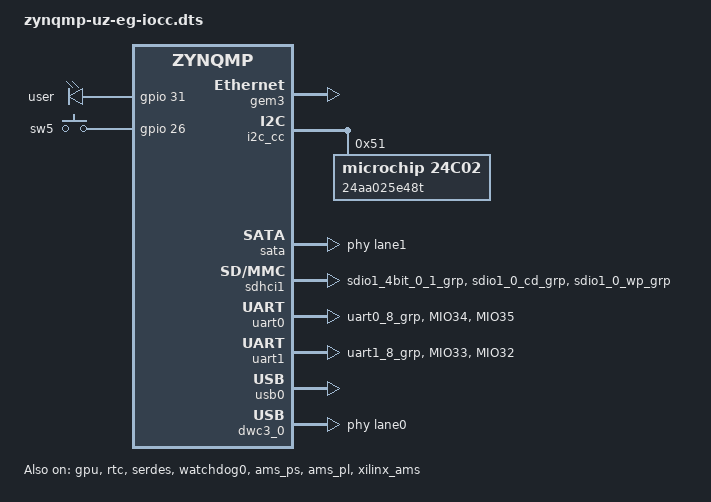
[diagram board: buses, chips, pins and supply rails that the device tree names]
/*
 * DTS file for ZynqMP UltraZed-EG Carrier Board
 *
 * Copyright 2019 (C), Istituto Italiano di Tecnologia
 * Electronic Design Laboratory
 *
 * Written by Andrea Merello <andrea.merello@gmail.com>
 *
 * Based on
 *   dts file for Xilinx ZynqMP ZCU102 RevA
 *   (C) Copyright 2015, Xilinx, Inc.
 *   Michal Simek <michal.simek@xilinx.com>
 *
 * This program is free software; you can redistribute it and/or
 * modify it under the terms of the GNU General Public License as
 * published by the Free Software Foundation; either version 2 of
 * the License, or (at your option) any later version.
 */

/dts-v1/;
#include "zynqmp-uz-eg-som.dtsi"

/ {
	aliases {
		spi0 = &qspi;
		serial0 = &uart0;
		serial1 = &uart1;
	};

	chosen {
		bootargs = "earlycon clk_ignore_unused";
		stdout-path = "serial0:115200n8";
	};

	leds {
		compatible = "gpio-leds";
		user_ps {
			label = "user";
			gpios = <&gpio 31 GPIO_ACTIVE_HIGH>;
			linux,default-trigger = "heartbeat";
		};
	};

	gpio-keys {
		compatible = "gpio-keys";
		#address-cells = <1>;
		#size-cells = <0>;

		sw5 {
			label = "sw5";
			gpios = <&gpio 26 GPIO_ACTIVE_HIGH>;
			gpio-key,wakeup;
			linux,code = <240>; /* key unknown */
			autorepeat;
		};
	};
};

/* TODO dpaux generator? */

&gem3 {
	status = "okay";
};

&i2c_cc {
	24aa025e48t@a2 {
		compatible = "microchip,24c02";
		reg = <0x51>;
	};
};

&gpio {
	status = "okay";
};

&gpu {
	status = "okay";
};

&pinctrl0 {
	status = "okay";
		pinctrl_sdhci1_default: sdhci1-default {
		mux {
			groups = "sdio1_4bit_0_1_grp";
			function = "sdio1";
		};

		conf {
			groups = "sdio1_4bit_0_1_grp";
			slew-rate = <SLEW_RATE_SLOW>;
			io-standard = <IO_STANDARD_LVCMOS33>;
			bias-disable;
		};

		mux-cd {
			groups = "sdio1_0_cd_grp";
			function = "sdio1_cd";
		};

		conf-cd {
			groups = "sdio1_0_cd_grp";
			bias-high-impedance;
			bias-pull-up;
			slew-rate = <SLEW_RATE_SLOW>;
			io-standard = <IO_STANDARD_LVCMOS33>;
		};

		mux-wp {
			groups = "sdio1_0_wp_grp";
			function = "sdio1_wp";
		};

		conf-wp {
			groups = "sdio1_0_wp_grp";
			bias-high-impedance;
			bias-pull-up;
			slew-rate = <SLEW_RATE_SLOW>;
			io-standard = <IO_STANDARD_LVCMOS33>;
		};
	};

	pinctrl_uart0_default: uart0-default {
		mux {
			groups = "uart0_8_grp";
			function = "uart0";
		};

		conf {
			groups = "uart0_8_grp";
			slew-rate = <SLEW_RATE_SLOW>;
			io-standard = <IO_STANDARD_LVCMOS33>;
		};

		conf-rx {
			pins = "MIO34";
			bias-high-impedance;
		};

		conf-tx {
			pins = "MIO35";
			bias-disable;
		};
	};

	pinctrl_uart1_default: uart1-default {
		mux {
			groups = "uart1_8_grp";
			function = "uart1";
		};

		conf {
			groups = "uart1_8_grp";
			slew-rate = <SLEW_RATE_SLOW>;
			io-standard = <IO_STANDARD_LVCMOS33>;
		};

		conf-rx {
			pins = "MIO33";
			bias-high-impedance;
		};

		conf-tx {
			pins = "MIO32";
			bias-disable;
		};
	};
};

&rtc {
	status = "okay";
};

&sata {
	ceva,p0-burst-params = /bits/ 8 <0x13 0x08 0x4A 0x06>;
	ceva,p0-cominit-params = /bits/ 8 <0x18 0x40 0x18 0x28>;
	ceva,p0-comwake-params = /bits/ 8 <0x06 0x14 0x08 0x0E>;
	ceva,p0-retry-params = /bits/ 16 <0x96A4 0x3FFC>;

	ceva,p1-burst-params = /bits/ 8 <0x13 0x08 0x4A 0x06>;
	ceva,p1-cominit-params = /bits/ 8 <0x18 0x40 0x18 0x28>;
	ceva,p1-comwake-params = /bits/ 8 <0x06 0x14 0x08 0x0E>;
	ceva,p1-retry-params = /bits/ 16 <0x96A4 0x3FFC>;

	status = "okay";
	phy-names = "sata-phy";
	phys = <&lane1 PHY_TYPE_SATA 1 1 125000000>;
};

&sdhci1 {
	pinctrl-names = "default";
	pinctrl-0 = <&pinctrl_sdhci1_default>;
	clock-frequency = <199998000>;
	max-frequency = <50000000>;
	no-1-8-v;
	status = "okay";
	xlnx,mio_bank = <0x1>;
};

&serdes {
	status = "okay";
};

&uart0 {
	pinctrl-names = "default";
	pinctrl-0 = <&pinctrl_uart0_default>;
	device_type = "serial";
	port-number = <0>;
	status = "okay";
	u-boot,dm-pre-reloc ;
};

&uart1 {
	pinctrl-names = "default";
	pinctrl-0 = <&pinctrl_uart1_default>;
	device_type = "serial";
	port-number = <1>;
	status = "okay";
	u-boot,dm-pre-reloc ;
};

&usb0 {
	status = "okay";
};

&dwc3_0 {
	status = "okay";
	snps,usb3_lpm_capable;
	phy-names = "usb3-phy";
	phys = <&lane0 PHY_TYPE_USB3 0 0 26000000>;
	maximum-speed = "super-speed";
};

&watchdog0 {
	status = "okay";
};

&ams_ps {
	status = "okay";
};
&ams_pl {
	status = "okay";
};
&xilinx_ams {
	status = "okay";
};
&lpd_dma_chan1 {
	status = "okay";
};
&lpd_dma_chan2 {
	status = "okay";
};
&lpd_dma_chan3 {
	status = "okay";
};
&lpd_dma_chan4 {
	status = "okay";
};
&lpd_dma_chan5 {
	status = "okay";
};
&lpd_dma_chan6 {
	status = "okay";
};
&lpd_dma_chan7 {
	status = "okay";
};
&lpd_dma_chan8 {
	status = "okay";
};
&fpd_dma_chan1 {
	status = "okay";
};
&fpd_dma_chan2 {
	status = "okay";
};
&fpd_dma_chan3 {
	status = "okay";
};
&fpd_dma_chan4 {
	status = "okay";
};
&fpd_dma_chan5 {
	status = "okay";
};
&fpd_dma_chan6 {
	status = "okay";
};
&fpd_dma_chan7 {
	status = "okay";
};
&fpd_dma_chan8 {
	status = "okay";
};
